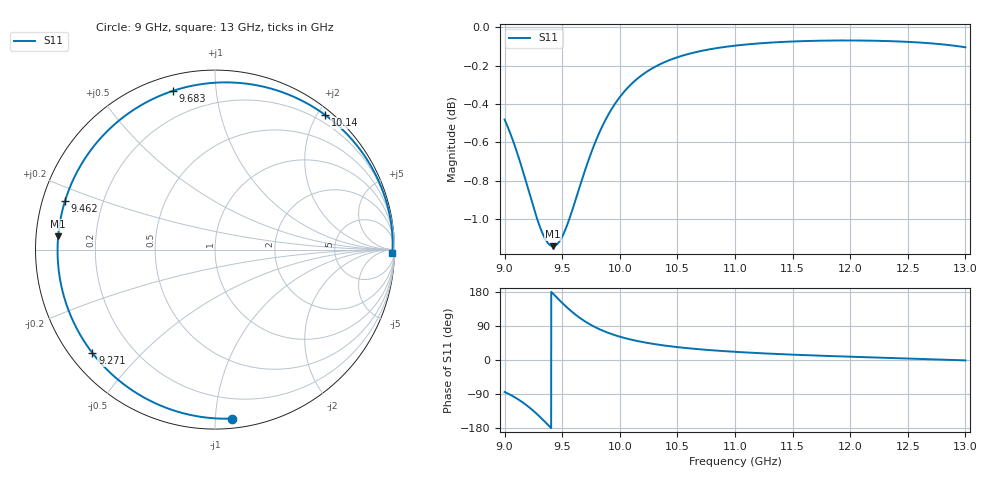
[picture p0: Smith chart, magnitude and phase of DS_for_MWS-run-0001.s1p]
! TOUCHSTONE file generated by CST DESIGN STUDIO
! Date and time: Tue Feb  4 17:15:50 2025
! Project name: C:\Work\MatlabApps\UnitCellOptimizationMatlab\CST\unitcell.cst
! Tree item: Tasks\Sweep1\SPara1\S-Parameters
! Header version: 2024
! Port assignment regex: !\s*Touchstone port\s*([0-9]+)\s*=\s*(CST MWS port|CST DES external port|CST DES block port)\s*(.+)\s* \(\"(.*)\"\)(\s*mode\s*([0-9]+))?.*
! Touchstone port assignment:
! Touchstone port 1 = CST DES external port 1 ("")
# GHz S MA R 50
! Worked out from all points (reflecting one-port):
!   4001 points, 9 GHz to 13 GHz, reference 50 ohm
!   lowest |S11| = -1.1 dB at 9.42 GHz (marker M1), VSWR 15.26, Z = 3.28 + j2.09 ohm
!   phase of S11 starts at -84 deg and turns -277 deg over the sweep
!   S11 on the Smith chart (normalised r, x): 9 GHz: 0.06, -1.10; 9.271 GHz: 0.06, -0.36; 9.462 GHz: 0.07, +0.16; 9.683 GHz: 0.07, +0.77; 10.14 GHz: 0.09, +2.10; 13 GHz: 52, -77
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9  0.9462 -84.3
9.08  0.933 -96.9
9.148  0.9196 -110.0
9.211  0.9062 -124.3
9.271  0.8937 -139.9
9.312  0.8863 -151.6
9.35  0.8811 -163.0
9.385  0.8781 -173.8
9.42  0.877 175.2
9.462  0.8784 162.1
9.5  0.882 150.6
9.546  0.8887 137.5
9.59  0.8966 125.9
9.635  0.9055 115.1
9.683  0.9149 104.8
9.754  0.928 91.8
9.838  0.941 79.2
9.916  0.9508 69.8
10  0.959 61.6
10.142  0.9691 50.8
10.304  0.9765 41.8
10.5  0.9822 34.0
10.723  0.9861 27.5
11  0.989 21.6
11.5  0.9915 14.1
12  0.9921 8.7
12.5  0.9913 4.0
13  0.9881 -1.0
